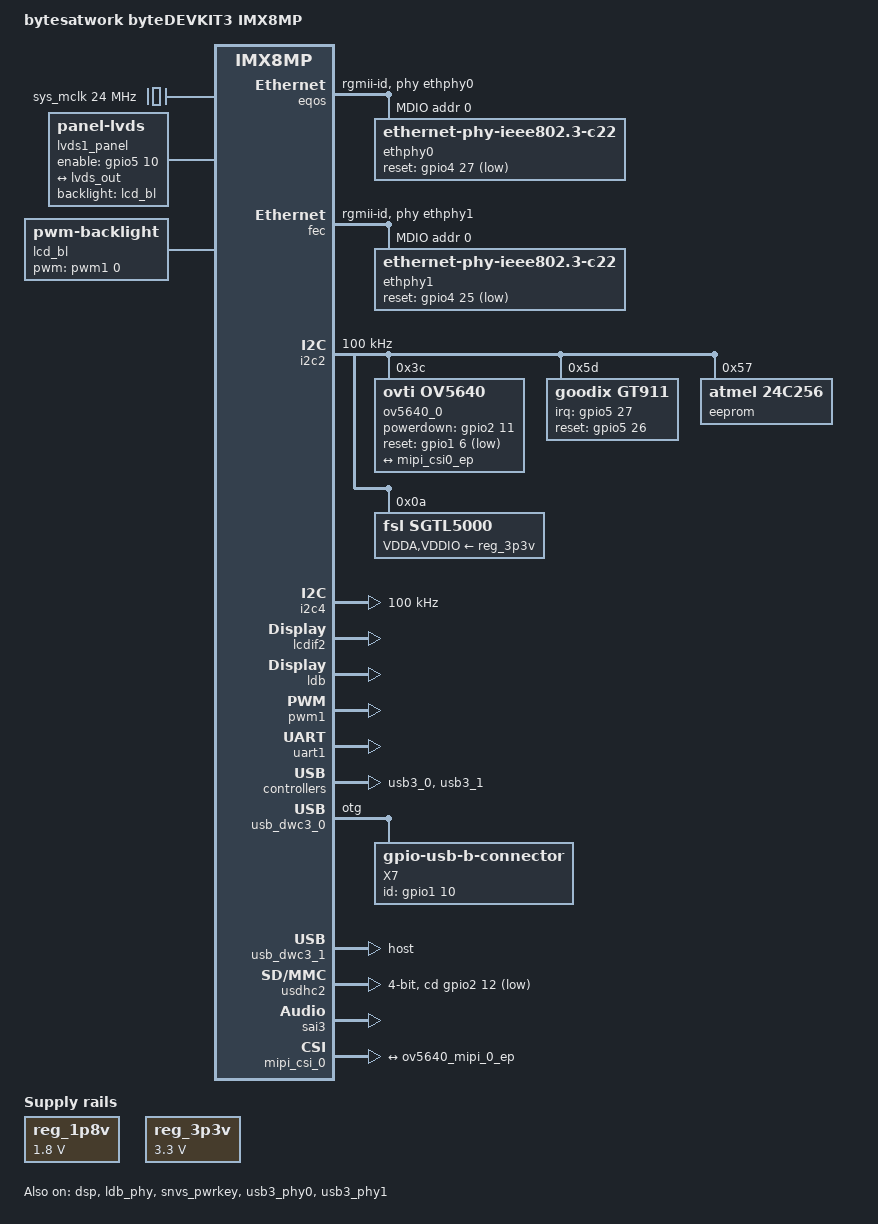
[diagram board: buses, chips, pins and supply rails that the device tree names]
// SPDX-License-Identifier: (GPL-2.0+ OR MIT)
/*
 * Copyright 2023 bytesatwork AG
 */

/dts-v1/;

#include "imx8mp-byteengine.dtsi"
#include <dt-bindings/net/ti-dp83867.h>

/ {
	model = "bytesatwork byteDEVKIT3 IMX8MP";
	compatible = "bytesatwork,bytedevkit-imx8mp", "bytesatwork,byteengine-imx8mp", "fsl,imx8mp";

	chosen {
		stdout-path = &uart1;
	};

	sys_mclk: clock-mclk {
		compatible = "fixed-clock";
		#clock-cells = <0>;
		clock-frequency = <24000000>;
	};

	lvds1_panel {
		compatible = "panel-lvds";
		status = "okay";
		backlight = <&lcd_bl>;
		enable-gpios = <&gpio5 10 GPIO_ACTIVE_HIGH>;
		data-mapping = "vesa-24";
		width-mm = <108>;
		height-mm = <65>;

		panel-timing {
			clock-frequency = <25000000>;
			hactive = <800>;
			vactive = <480>;
			hback-porch = <8>;
			hfront-porch = <8>;
			vback-porch = <8>;
			vfront-porch = <8>;
			hsync-len = <4>;
			vsync-len = <4>;
		};

		port {
			panel_in: endpoint {
				remote-endpoint = <&lvds_out>;
			};
		};
	};

	reg_1p8v: fixedregulator1 {
		compatible = "regulator-fixed";
		regulator-name = "1P8V";
		regulator-min-microvolt = <1800000>;
		regulator-max-microvolt = <1800000>;
		regulator-always-on;
	};

	reg_3p3v: fixedregulator2 {
		compatible = "regulator-fixed";
		regulator-name = "3P3V";
		regulator-min-microvolt = <3300000>;
		regulator-max-microvolt = <3300000>;
		regulator-always-on;
	};

	lcd_bl: backlight {
		compatible = "pwm-backlight";
		pwms = <&pwm1 0 5000000 0>;
		status = "okay";
		brightness-levels = <
			0  1  2  3  4  5  6  7  8  9
			10 11 12 13 14 15 16 17 18 19
			20 21 22 23 24 25 26 27 28 29
			30 31 32 33 34 35 36 37 38 39
			40 41 42 43 44 45 46 47 48 49
			50 51 52 53 54 55 56 57 58 59
			60 61 62 63 64 65 66 67 68 69
			70 71 72 73 74 75 76 77 78 79
			80 81 82 83 84 85 86 87 88 89
			90 91 92 93 94 95 96 97 98 99
			100>;
		default-brightness-level = <80>;
	};

	sound {
		compatible = "simple-audio-card";
		simple-audio-card,format = "i2s";
		simple-audio-card,widgets =
			"Microphone", "Microphone Jack",
			"Headphone", "Headphone Jack",
			"Speaker", "Speaker Ext",
			"Line", "Line In Jack";
		simple-audio-card,routing =
			"MIC_IN", "Microphone Jack",
			"Microphone Jack", "Mic Bias",
			"LINE_IN", "Line In Jack",
			"Headphone Jack", "HP_OUT",
			"Speaker Ext", "LINE_OUT";

		simple-audio-card,cpu {
			sound-dai = <&sai3>;
			frame-master;
			bitclock-master;
		};

		simple-audio-card,codec {
			sound-dai = <&sgtl5000>;
			frame-master;
			bitclock-master;
			system-clock-frequency = <24000000>;
		};
	};
};

&dsp {
	status = "okay";
};

&eqos {
	pinctrl-names = "default";
	pinctrl-0 = <&pinctrl_eqos>;
	phy-mode = "rgmii-id";
	phy-handle = <&ethphy0>;
	status = "okay";
	mdio {
		compatible = "snps,dwmac-mdio";
		#address-cells = <1>;
		#size-cells = <0>;
		ethphy0: ethernet-phy@0 {
			compatible = "ethernet-phy-ieee802.3-c22";
			reg = <0>;
			eee-broken-1000t;
			reset-gpios = <&gpio4 27 GPIO_ACTIVE_LOW>;
			reset-assert-us = <1000>;
			reset-deassert-us = <1000>;
			ti,rx-internal-delay = <DP83867_RGMIIDCTL_2_25_NS>;
			ti,tx-internal-delay = <DP83867_RGMIIDCTL_2_25_NS>;
			ti,fifo-depth = <DP83867_PHYCR_FIFO_DEPTH_4_B_NIB>;
			ti,clk-output-sel = <DP83867_CLK_O_SEL_OFF>;
		};
	};
};

&fec {
	pinctrl-names = "default";
	pinctrl-0 = <&pinctrl_fec>;
	phy-mode = "rgmii-id";
	phy-handle = <&ethphy1>;
	fsl,magic-packet;
	status = "okay";
	mdio {
		#address-cells = <1>;
		#size-cells = <0>;
		ethphy1: ethernet-phy@1 {
			compatible = "ethernet-phy-ieee802.3-c22";
			reg = <0>;
			eee-broken-1000t;
			reset-gpios = <&gpio4 25 GPIO_ACTIVE_LOW>;
			reset-assert-us = <1000>;
			reset-deassert-us = <1000>;
			ti,rx-internal-delay = <DP83867_RGMIIDCTL_2_25_NS>;
			ti,tx-internal-delay = <DP83867_RGMIIDCTL_2_25_NS>;
			ti,fifo-depth = <DP83867_PHYCR_FIFO_DEPTH_4_B_NIB>;
			ti,clk-output-sel = <DP83867_CLK_O_SEL_OFF>;
		};
	};
};

&i2c2 {
	clock-frequency = <100000>;
	pinctrl-names = "default";
	pinctrl-0 = <&pinctrl_i2c2
		     &pinctrl_touch>;
	status = "okay";

	ov5640_0: ov5640_mipi@3c {
		compatible = "ovti,ov5640";
		reg = <0x3c>;
		pinctrl-names = "default";
		pinctrl-0 = <&pinctrl_csi0_pwn>, <&pinctrl_csi0_rst>, <&pinctrl_csi_mclk>;
		clocks = <&clk IMX8MP_CLK_IPP_DO_CLKO2>;
		clock-names = "xclk";
		assigned-clocks = <&clk IMX8MP_CLK_IPP_DO_CLKO2>;
		assigned-clock-parents = <&clk IMX8MP_CLK_24M>;
		assigned-clock-rates = <24000000>;
		csi_id = <0>;
		powerdown-gpios = <&gpio2 11 GPIO_ACTIVE_HIGH>;
		reset-gpios = <&gpio1 6 GPIO_ACTIVE_LOW>;
		mclk = <24000000>;
		mclk_source = <0>;
		mipi_csi;
		status = "okay";

		port {
			ov5640_mipi_0_ep: endpoint {
				remote-endpoint = <&mipi_csi0_ep>;
				data-lanes = <1 2>;
				clock-lanes = <0>;
			};
		};
	};

	gt911@5d {
		compatible = "goodix,gt911";
		reg = <0x5d>;
		interrupt-parent = <&gpio5>;
		interrupts = <27 0>;
		irq-gpios = <&gpio5 27 0>;
		reset-gpios = <&gpio5 26 0>;
		touchscreen-inverted-x;
		touchscreen-inverted-y;
	};

	eeprom: eeprom@57 {
		compatible = "atmel,24c256";
		reg = <0x57>;
	};

	sgtl5000: sgtl5000@a {
		#sound-dai-cells = <0>;
		compatible = "fsl,sgtl5000";
		reg = <0x0a>;
		VDDA-supply = <&reg_3p3v>;
		VDDIO-supply = <&reg_3p3v>;
		clocks = <&sys_mclk>;
		sclk-strength = <3>;
	};
};

&i2c4 {
	clock-frequency = <100000>;
	pinctrl-names = "default";
	pinctrl-0 = <&pinctrl_i2c4>;
	status = "okay";
};

&lcdif2 {
	status = "okay";
};

&ldb {
	status = "okay";

	lvds-channel@0 {
		fsl,data-mapping = "spwg";
		fsl,data-width = <24>;
		status = "okay";

		port@1 {
			reg = <1>;

			lvds_out: endpoint {
				remote-endpoint = <&panel_in>;
			};
		};
	};
};

&pwm1 {
	pinctrl-names = "default";
	pinctrl-0 = <&pinctrl_lvds_pwm>;
	status = "okay";
};

&ldb_phy {
	status = "okay";
};

&snvs_pwrkey {
	status = "okay";
};

&uart1 { /* console */
	pinctrl-names = "default";
	pinctrl-0 = <&pinctrl_uart1>;
	status = "okay";
};

&usb3_phy0 {
	status = "okay";
};

&usb3_0 {
	status = "okay";
};

&usb_dwc3_0 {
	pinctrl-names = "default";
	pinctrl-0 = <&pinctrl_usb1_vbus>;
	usb-role-switch;
	dr_mode = "otg";
	status = "okay";
	/* dual role is implemented, but not a full featured OTG */
	hnp-disable;
	srp-disable;
	adp-disable;
	dr_mode = "otg";
	usb-role-switch;
	status = "okay";

	connector {
		compatible = "gpio-usb-b-connector", "usb-b-connector";
		type = "micro";
		label = "X7";
		pinctrl-names = "default";
		id-gpios = <&gpio1 10 GPIO_ACTIVE_HIGH>;
	};
};

&usb3_phy1 {
	fsl,phy-tx-preemp-amp-tune = <3>;
	fsl,phy-tx-vref-tune = <0xb>;
	status = "okay";
};

&usb3_1 {
	fsl,over-current-active-low;
	status = "okay";
};

&usb_dwc3_1 {
	pinctrl-names = "default";
	pinctrl-0 = <&pinctrl_usb2_vbus>;
	dr_mode = "host";
	status = "okay";
};

&usdhc2 {
	assigned-clocks = <&clk IMX8MP_CLK_USDHC2>;
	assigned-clock-rates = <400000000>;
	pinctrl-names = "default";
	pinctrl-0 = <&pinctrl_usdhc2>, <&pinctrl_usdhc2_gpio>;
	cd-gpios = <&gpio2 12 GPIO_ACTIVE_LOW>;
	bus-width = <4>;
	status = "okay";
};

&sai3 {
	#sound-dai-cells = <0>;
	pinctrl-names = "default";
	pinctrl-0 = <&pinctrl_sai3>;
	assigned-clocks = <&clk IMX8MP_CLK_SAI3>;
	assigned-clock-parents = <&clk IMX8MP_AUDIO_PLL1_OUT>;
	assigned-clock-rates = <24000000>;
	status = "okay";
};

&iomuxc {
	pinctrl_uart1: uart1grp {
		fsl,pins = <
			MX8MP_IOMUXC_UART1_RXD__UART1_DCE_RX	0x140
			MX8MP_IOMUXC_UART1_TXD__UART1_DCE_TX	0x140
		>;
	};

	pinctrl_eqos: eqosgrp {
		fsl,pins = <
			MX8MP_IOMUXC_ENET_MDC__ENET_QOS_MDC                             0x3
			MX8MP_IOMUXC_ENET_MDIO__ENET_QOS_MDIO                           0x3
			MX8MP_IOMUXC_ENET_RD0__ENET_QOS_RGMII_RD0                       0x91
			MX8MP_IOMUXC_ENET_RD1__ENET_QOS_RGMII_RD1                       0x91
			MX8MP_IOMUXC_ENET_RD2__ENET_QOS_RGMII_RD2                       0x91
			MX8MP_IOMUXC_ENET_RD3__ENET_QOS_RGMII_RD3                       0x91
			MX8MP_IOMUXC_ENET_RXC__CCM_ENET_QOS_CLOCK_GENERATE_RX_CLK       0x91
			MX8MP_IOMUXC_ENET_RX_CTL__ENET_QOS_RGMII_RX_CTL                 0x91
			MX8MP_IOMUXC_ENET_TD0__ENET_QOS_RGMII_TD0                       0x16
			MX8MP_IOMUXC_ENET_TD1__ENET_QOS_RGMII_TD1                       0x16
			MX8MP_IOMUXC_ENET_TD2__ENET_QOS_RGMII_TD2                       0x16
			MX8MP_IOMUXC_ENET_TD3__ENET_QOS_RGMII_TD3                       0x16
			MX8MP_IOMUXC_ENET_TX_CTL__ENET_QOS_RGMII_TX_CTL                 0x16
			MX8MP_IOMUXC_ENET_TXC__CCM_ENET_QOS_CLOCK_GENERATE_TX_CLK       0x16
			MX8MP_IOMUXC_SAI2_MCLK__GPIO4_IO27				0x16
		>;
	};

	pinctrl_fec: fecgrp {
		fsl,pins = <
			MX8MP_IOMUXC_SAI1_RXD2__ENET1_MDC              0x3
			MX8MP_IOMUXC_SAI1_RXD3__ENET1_MDIO             0x3
			MX8MP_IOMUXC_SAI1_RXD4__ENET1_RGMII_RD0        0x91
			MX8MP_IOMUXC_SAI1_RXD5__ENET1_RGMII_RD1        0x91
			MX8MP_IOMUXC_SAI1_RXD6__ENET1_RGMII_RD2        0x91
			MX8MP_IOMUXC_SAI1_RXD7__ENET1_RGMII_RD3        0x91
			MX8MP_IOMUXC_SAI1_TXC__ENET1_RGMII_RXC         0x91
			MX8MP_IOMUXC_SAI1_TXFS__ENET1_RGMII_RX_CTL     0x91
			MX8MP_IOMUXC_SAI1_TXD0__ENET1_RGMII_TD0        0x1f
			MX8MP_IOMUXC_SAI1_TXD1__ENET1_RGMII_TD1        0x1f
			MX8MP_IOMUXC_SAI1_TXD2__ENET1_RGMII_TD2        0x1f
			MX8MP_IOMUXC_SAI1_TXD3__ENET1_RGMII_TD3        0x1f
			MX8MP_IOMUXC_SAI1_TXD4__ENET1_RGMII_TX_CTL     0x1f
			MX8MP_IOMUXC_SAI1_TXD5__ENET1_RGMII_TXC        0x1f
			MX8MP_IOMUXC_SAI2_TXC__GPIO4_IO25	       0x16
		>;
	};

	pinctrl_i2c2: i2c2grp {
		fsl,pins = <
			MX8MP_IOMUXC_I2C2_SCL__I2C2_SCL		0x400001c2
			MX8MP_IOMUXC_I2C2_SDA__I2C2_SDA		0x400001c2
		>;
	};

	pinctrl_i2c4: i2c4grp {
		fsl,pins = <
			MX8MP_IOMUXC_I2C4_SCL__I2C4_SCL		0x400001c2
			MX8MP_IOMUXC_I2C4_SDA__I2C4_SDA		0x400001c2
		>;
	};

	pinctrl_reg_usdhc2_vmmc: regusdhc2vmmcgrp {
		fsl,pins = <
			MX8MP_IOMUXC_SD2_RESET_B__GPIO2_IO19	0x40
		>;
	};

	pinctrl_usdhc2: usdhc2grp {
		fsl,pins = <
			MX8MP_IOMUXC_SD2_CLK__USDHC2_CLK	0x190
			MX8MP_IOMUXC_SD2_CMD__USDHC2_CMD	0x1d0
			MX8MP_IOMUXC_SD2_DATA0__USDHC2_DATA0	0x1d0
			MX8MP_IOMUXC_SD2_DATA1__USDHC2_DATA1	0x1d0
			MX8MP_IOMUXC_SD2_DATA2__USDHC2_DATA2	0x1d0
			MX8MP_IOMUXC_SD2_DATA3__USDHC2_DATA3	0x1d0
			MX8MP_IOMUXC_GPIO1_IO04__USDHC2_VSELECT	0xc0
		>;
	};

	pinctrl_usdhc2_100mhz: usdhc2-100mhzgrp {
		fsl,pins = <
			MX8MP_IOMUXC_SD2_CLK__USDHC2_CLK	0x194
			MX8MP_IOMUXC_SD2_CMD__USDHC2_CMD	0x1d4
			MX8MP_IOMUXC_SD2_DATA0__USDHC2_DATA0	0x1d4
			MX8MP_IOMUXC_SD2_DATA1__USDHC2_DATA1	0x1d4
			MX8MP_IOMUXC_SD2_DATA2__USDHC2_DATA2	0x1d4
			MX8MP_IOMUXC_SD2_DATA3__USDHC2_DATA3	0x1d4
			MX8MP_IOMUXC_GPIO1_IO04__USDHC2_VSELECT	0xc0
		>;
	};

	pinctrl_usdhc2_200mhz: usdhc2-200mhzgrp {
		fsl,pins = <
			MX8MP_IOMUXC_SD2_CLK__USDHC2_CLK	0x196
			MX8MP_IOMUXC_SD2_CMD__USDHC2_CMD	0x1d6
			MX8MP_IOMUXC_SD2_DATA0__USDHC2_DATA0	0x1d6
			MX8MP_IOMUXC_SD2_DATA1__USDHC2_DATA1	0x1d6
			MX8MP_IOMUXC_SD2_DATA2__USDHC2_DATA2	0x1d6
			MX8MP_IOMUXC_SD2_DATA3__USDHC2_DATA3	0x1d6
			MX8MP_IOMUXC_GPIO1_IO04__USDHC2_VSELECT	0xc0
		>;
	};

	pinctrl_usdhc2_gpio: usdhc2gpiogrp {
		fsl,pins = <
			MX8MP_IOMUXC_SD2_CD_B__GPIO2_IO12	0x1c4
		>;
	};

	pinctrl_csi0_pwn: csi0_pwn_grp {
		fsl,pins = <
			MX8MP_IOMUXC_SD1_STROBE__GPIO2_IO11	0x10
		>;
	};

	pinctrl_csi0_rst: csi0_rst_grp {
		fsl,pins = <
			MX8MP_IOMUXC_GPIO1_IO06__GPIO1_IO06		0x10
		>;
	};

	pinctrl_csi_mclk: csi_mclk_grp {
		fsl,pins = <
			MX8MP_IOMUXC_GPIO1_IO15__CCM_CLKO2	0x50
		>;
	};

	pinctrl_usb1_vbus: usb1_grp {
		fsl,pins = <
			MX8MP_IOMUXC_GPIO1_IO13__USB1_OC	0x10
			MX8MP_IOMUXC_GPIO1_IO10__GPIO1_IO10	0x10
		>;
	};

	pinctrl_usb2_vbus: usb2_grp {
		fsl,pins = <
			MX8MP_IOMUXC_GPIO1_IO14__USB2_PWR	0x10
			MX8MP_IOMUXC_GPIO1_IO15__USB2_OC	0x10
		>;
	};

	pinctrl_touch: touch_grp {
		fsl,pins = <
			MX8MP_IOMUXC_UART3_RXD__GPIO5_IO26	0x10	/* Touch Reset*/
			MX8MP_IOMUXC_UART3_TXD__GPIO5_IO27	0x10	/* Touch Int */
		>;
	};

	pinctrl_lvds_pwm: lvds_pwm_grp {
		fsl,pins = <
			MX8MP_IOMUXC_SPDIF_EXT_CLK__PWM1_OUT	0x10   /* lvds pwm */
			MX8MP_IOMUXC_ECSPI2_SCLK__GPIO5_IO10	0x10   /* LVDS ENABLE */
		>;
	};

	pinctrl_sai3: sai3grp {
		fsl,pins = <
			MX8MP_IOMUXC_SAI3_TXFS__AUDIOMIX_SAI3_TX_SYNC     0xd6
			MX8MP_IOMUXC_SAI3_TXC__AUDIOMIX_SAI3_TX_BCLK      0xd6
			MX8MP_IOMUXC_SAI3_MCLK__AUDIOMIX_SAI3_MCLK        0xd6
			MX8MP_IOMUXC_SAI3_TXD__AUDIOMIX_SAI3_TX_DATA00    0xd6
			MX8MP_IOMUXC_SAI3_RXD__AUDIOMIX_SAI3_RX_DATA00	  0xd6
		>;
	};

};

&mipi_csi_0 {
	#address-cells = <1>;
	#size-cells = <0>;
	status = "okay";

	port@0 {
		reg = <0>;

		mipi_csi0_ep: endpoint {
			remote-endpoint = <&ov5640_mipi_0_ep>;
			data-lanes = <2>;
			csis-hs-settle = <13>;
			csis-clk-settle = <2>;
			csis-wclk;
		};
	};
};
